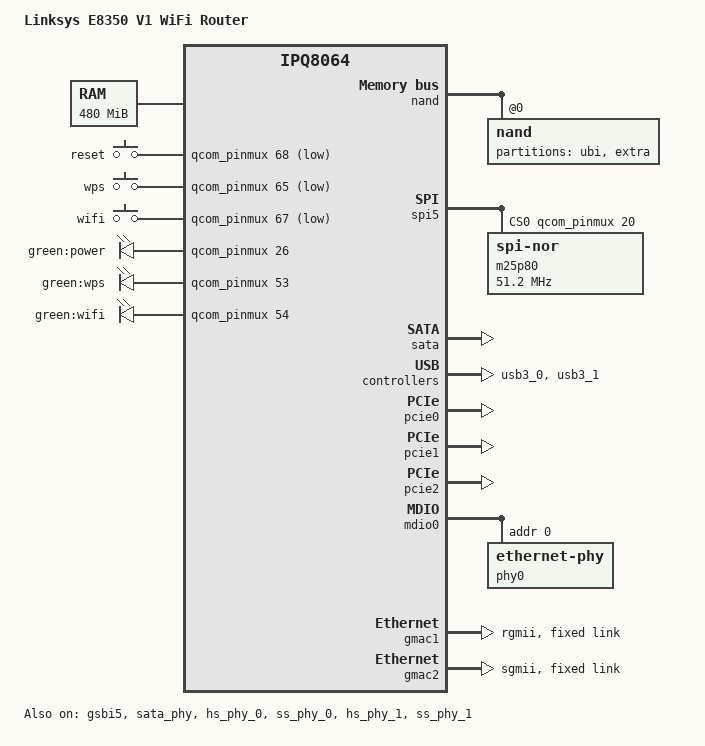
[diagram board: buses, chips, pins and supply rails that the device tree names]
// SPDX-License-Identifier: GPL-2.0-or-later OR MIT
#include "qcom-ipq8064-v2.0.dtsi"

#include <dt-bindings/input/input.h>
#include <dt-bindings/soc/qcom,tcsr.h>

/ {
	model = "Linksys E8350 V1 WiFi Router";
	compatible = "linksys,e8350-v1", "qcom,ipq8064";

	memory@0 {
		reg = <0x42000000 0x1e000000>;
		device_type = "memory";
	};

	aliases {
		serial0 = &gsbi4_serial;

		led-boot = &led_power;
		led-failsafe = &led_power;
		led-running = &led_power;
		led-upgrade = &led_power;
	};

	keys {
		compatible = "gpio-keys";
		pinctrl-0 = <&button_pins>;
		pinctrl-names = "default";

		reset {
			label = "reset";
			gpios = <&qcom_pinmux 68 GPIO_ACTIVE_LOW>;
			linux,code = <KEY_RESTART>;
			debounce-interval = <60>;
			wakeup-source;
		};

		wps {
			label = "wps";
			gpios = <&qcom_pinmux 65 GPIO_ACTIVE_LOW>;
			linux,code = <KEY_WPS_BUTTON>;
			debounce-interval = <60>;
			wakeup-source;
		};

		wifi {
			label = "wifi";
			gpios = <&qcom_pinmux 67 GPIO_ACTIVE_LOW>;
			linux,code = <KEY_RFKILL>;
			debounce-interval = <60>;
			wakeup-source;
		};
	};

	leds {
		compatible = "gpio-leds";
		pinctrl-0 = <&led_pins>;
		pinctrl-names = "default";

		led_power: power {
			label = "green:power";
			gpios = <&qcom_pinmux 26 GPIO_ACTIVE_HIGH>;
			default-state = "keep";
		};

		wps {
			label = "green:wps";
			gpios = <&qcom_pinmux 53 GPIO_ACTIVE_HIGH>;
                };

		wifi {
			label = "green:wifi";
			gpios = <&qcom_pinmux 54 GPIO_ACTIVE_HIGH>;
		};
	};
};

&nand {
	status = "okay";
	nand@0 {
		reg = <0>;

		nand-ecc-strength = <4>;
		nand-bus-width = <8>;

		partitions {
			compatible = "fixed-partitions";

			partition@0 {
				label = "ubi";
				reg = <0 0x4000000>;
			};

			partition@4000000 {
				label = "extra";
				reg = <0x4000000 0x4000000>;
			};
		};
	};
};

&qcom_pinmux {
	button_pins: button_pins {
		mux {
			pins = "gpio68","gpio65", "gpio67";
			function = "gpio";
			drive-strength = <2>;
			bias-pull-up;
		};
	};

	led_pins: led_pins {
		mux {
			pins = "gpio26","gpio53", "gpio54";
			function = "gpio";
			drive-strength = <2>;
			bias-pull-up;
		};
	};
};

&gsbi5 {
	qcom,mode = <GSBI_PROT_SPI>;
	status = "okay";

	spi5: spi@1a280000 {
		status = "okay";

		pinctrl-0 = <&spi_pins>;
		pinctrl-names = "default";

		cs-gpios = <&qcom_pinmux 20 GPIO_ACTIVE_HIGH>;

		m25p80@0 {
			compatible = "jedec,spi-nor";
			spi-max-frequency = <51200000>;
			reg = <0>;

			partitions {
				compatible = "qcom,smem";
			};
		};
	};
};

&sata_phy {
	status = "okay";
};

&sata {
	status = "okay";
};

&hs_phy_0 {
	status = "okay";
};

&ss_phy_0 {
	status = "okay";
};

&usb3_0 {
	status = "okay";
};

&hs_phy_1 {
	status = "okay";
};

&ss_phy_1 {
	status = "okay";
};

&usb3_1 {
	status = "okay";
};

&pcie0 {
	status = "okay";
};

&pcie1 {
	status = "okay";
};

&pcie2 {
	status = "okay";
};

&mdio0 {
	status = "okay";

	pinctrl-0 = <&mdio0_pins>;
	pinctrl-names = "default";

	phy0: ethernet-phy@0 {
		reg = <0>;
		qca,ar8327-initvals = <
			0x00004 0x7600000   /* PAD0_MODE */
			0x00008 0x1000000   /* PAD5_MODE */
			0x0000c 0x80        /* PAD6_MODE */
			0x00010 0x2613a0    /* PWS_REG */
			0x000e4 0x6a545     /* MAC_POWER_SEL */
			0x000e0 0xc74164de  /* SGMII_CTRL */
			0x0007c 0x4e        /* PORT0_STATUS */
			0x00094 0x4e        /* PORT6_STATUS */
			>;
	};
};

&gmac1 {
	status = "okay";
	phy-mode = "rgmii";
	qcom,id = <1>;

	pinctrl-0 = <&rgmii2_pins>;
	pinctrl-names = "default";

	fixed-link {
		speed = <1000>;
		full-duplex;
	};
};

&gmac2 {
	status = "okay";
	phy-mode = "sgmii";
	qcom,id = <2>;

	fixed-link {
		speed = <1000>;
		full-duplex;
	};
};

&tcsr {
	qcom,usb-ctrl-select = <TCSR_USB_SELECT_USB3_DUAL>;
	compatible = "qcom,tcsr";
};

&adm_dma {
	status = "okay";
};
